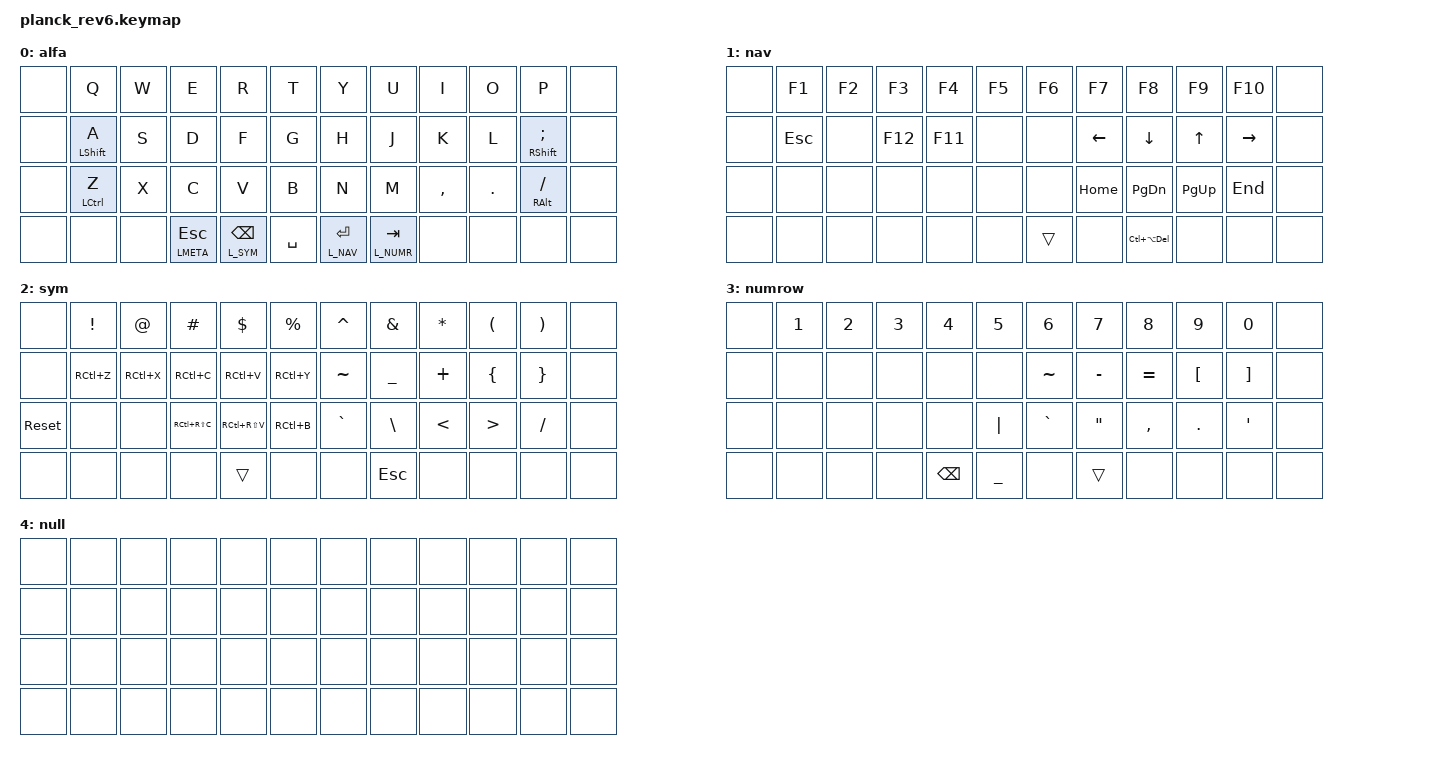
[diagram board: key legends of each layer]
/*
 * Copyright (c) 2020 The ZMK Contributors
 *
 * SPDX-License-Identifier: MIT
 */

#include <behaviors.dtsi>
#include <dt-bindings/zmk/keys.h>

#define L_ALFA 0
#define L_NAV 1
#define L_SYM 2
#define L_NUMR 3
#define L_NULL 8

/ {
    behaviors {
        mm_enter: under_nav_enter {
            compatible = "zmk,behavior-mod-morph";
            #binding-cells = <0>;
            bindings = <&lt L_NAV ENTER>, <&kp UNDER>;
            mods = <(MOD_LSFT|MOD_RSFT)>;
        };
    };
};

/ {
    keymap {
        compatible = "zmk,keymap";

        alfa {
            bindings = <
&none         &kp Q        &kp W  &kp E      &kp R          &kp T            &kp Y      &kp U            &kp I      &kp O    &kp P           &none
&none       &mt LSHFT A        &kp S  &kp D      &kp F          &kp G            &kp H      &kp J            &kp K      &kp L    &mt RSHFT SEMI        &none
&none     &mt LCTRL Z  &kp X  &kp C      &kp V          &kp B            &kp N      &kp M            &kp COMMA  &kp DOT  &mt RALT SLASH  &none
&none         &none        &none  &mt LMETA ESC  &lt L_SYM BSPC  &kp SPACE  &lt L_NAV ENTER  &lt L_NUMR TAB       &none  &none    &none           &none
            >;
        };

        nav {
            bindings = <
&none  &kp F1  &kp F2  &kp F3  &kp F4       &kp F5   &kp F6   &kp F7     &kp F8     &kp F9     &kp F10    &none
&none   &kp ESC  &none &kp F12  &kp F11    &none  &none     &kp LEFT  &kp DOWN   &kp UP    &kp RIGHT  &none
&none   &none  &none  &none  &none  &none    &none     &kp HOME  &kp PG_DN   &kp PG_UP  &kp END   &none
&none     &none            &none   &none  &none  &none     &trans    &none   &kp LC(LA(DEL))  &none     &none      &none
            >;
        };

        sym {
            bindings = <
&none   &kp EXCL   &kp AT     &kp HASH       &kp DOLLAR     &kp PERCENT  &kp CARET  &kp AMPS   &kp ASTRK  &kp LPAR  &kp RPAR   &none
&none       &kp RC(Z)  &kp RC(X)  &kp RC(C)      &kp RC(V)      &kp RC(Y)    &kp TILDE      &kp UNDER  &kp PLUS   &kp LBRC  &kp RBRC   &none
&sys_reset  &none      &none      &kp RC(RS(C))  &kp RC(RS(V))  &kp RC(B)    &kp GRAVE  &kp BACKSLASH   &kp LT     &kp GT    &kp SLASH  &none
&none       &none      &none      &none          &trans         &none        &none      &kp ESC   &none      &none     &none      &none
            >;
        };

        numrow {
            bindings = <
&none  &kp N1  &kp N2  &kp N3  &kp N4       &kp N5   &kp N6   &kp N7     &kp N8     &kp N9     &kp N0    &none
&none  &none  &none  &none  &none  &none   &kp TILDE   &kp MINUS  &kp EQUAL  &kp LBKT   &kp RBKT  &none
&none  &none  &none  &none  &none  &kp PIPE   &kp GRAVE  &kp DQT      &kp COMMA  &kp DOT    &kp SQT   &none
&none      &none   &none   &none   &kp BSPC  &kp UNDER   &none    &trans     &none      &none      &none     &none
            >;
        };

        null {
            bindings = <
&none  &none  &none  &none  &none  &none  &none  &none  &none  &none  &none  &none
&none  &none  &none  &none  &none  &none  &none  &none  &none  &none  &none  &none
&none  &none  &none  &none  &none  &none  &none  &none  &none  &none  &none  &none
&none  &none  &none  &none  &none  &none  &none  &none  &none  &none  &none  &none
            >;
        };
    };
};
